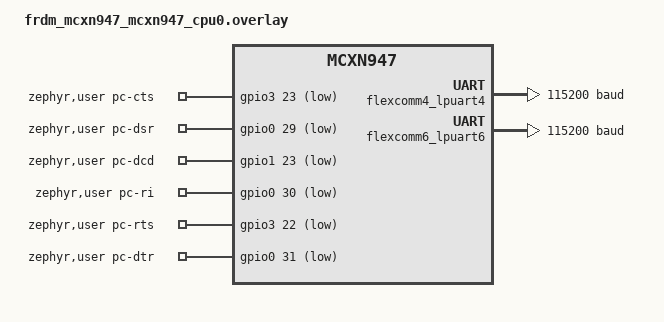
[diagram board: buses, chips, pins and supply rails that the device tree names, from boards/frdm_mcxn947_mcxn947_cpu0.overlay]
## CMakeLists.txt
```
# SPDX-License-Identifier: MIT
cmake_minimum_required(VERSION 3.20.0)
find_package(Zephyr REQUIRED HINTS $ENV{ZEPHYR_BASE})
project(astrial_rs232_fixture)
target_sources(app PRIVATE src/main.c src/fixture.c)
target_compile_options(app PRIVATE -Wall -Wextra -Werror)
```

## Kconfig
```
# SPDX-License-Identifier: MIT
source "Kconfig.zephyr"
```

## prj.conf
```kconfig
# SPDX-License-Identifier: MIT
CONFIG_SERIAL=y
CONFIG_UART_INTERRUPT_DRIVEN=y
CONFIG_UART_USE_RUNTIME_CONFIGURE=y
CONFIG_GPIO=y
CONFIG_CONSOLE=n
CONFIG_UART_CONSOLE=n
CONFIG_PRINTK=n
CONFIG_BOOT_BANNER=n
CONFIG_LOG=n
CONFIG_MAIN_STACK_SIZE=4096
```

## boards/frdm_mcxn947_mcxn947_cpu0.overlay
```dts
/* SPDX-License-Identifier: MIT */
/ {
    zephyr,user {
        /* PC/DTE signal names; MAX3237 inverts each modem signal. */
        pc-cts-gpios = <&gpio3 23 GPIO_ACTIVE_LOW>;
        pc-dsr-gpios = <&gpio0 29 GPIO_ACTIVE_LOW>;
        pc-dcd-gpios = <&gpio1 23 GPIO_ACTIVE_LOW>;
        pc-ri-gpios = <&gpio0 30 GPIO_ACTIVE_LOW>;
        pc-rts-gpios = <&gpio3 22 (GPIO_ACTIVE_LOW | GPIO_PULL_UP)>;
        pc-dtr-gpios = <&gpio0 31 (GPIO_ACTIVE_LOW | GPIO_PULL_UP)>;
    };
};
&pinctrl {
    rs232_uart6_default: rs232_uart6_default {
        group0 {
            pinmux = <FC6_P0_PIO3_20>, <FC6_P1_PIO3_21>;
            input-enable;
            drive-strength = "low";
            slew-rate = "fast";
        };
    };
};
&flexcomm4_lpuart4 { current-speed = <115200>; };
&flexcomm6_lpspi6 { status = "disabled"; };
&flexcomm6_lpi2c6 { status = "disabled"; };
&flexcomm6_lpuart6 {
    status = "okay";
    current-speed = <115200>;
    pinctrl-0 = <&rs232_uart6_default>;
    pinctrl-names = "default";
};
&sai1 { status = "disabled"; };
```

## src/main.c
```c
/* SPDX-License-Identifier: MIT */
#include "fixture.h"
#include <zephyr/kernel.h>
#include <zephyr/drivers/gpio.h>
#include <zephyr/drivers/uart.h>
#include <zephyr/sys/ring_buffer.h>
#include <fsl_lpuart.h>
#include <errno.h>

#define TARGET DT_NODELABEL(flexcomm6_lpuart6)
static const struct device *const control = DEVICE_DT_GET(DT_NODELABEL(flexcomm4_lpuart4));
static const struct device *const target = DEVICE_DT_GET(TARGET);
static const struct gpio_dt_spec outputs[] = {
    GPIO_DT_SPEC_GET(DT_PATH(zephyr_user), pc_cts_gpios),
    GPIO_DT_SPEC_GET(DT_PATH(zephyr_user), pc_dsr_gpios),
    GPIO_DT_SPEC_GET(DT_PATH(zephyr_user), pc_dcd_gpios),
    GPIO_DT_SPEC_GET(DT_PATH(zephyr_user), pc_ri_gpios),
};
static const struct gpio_dt_spec inputs[] = {
    GPIO_DT_SPEC_GET(DT_PATH(zephyr_user), pc_rts_gpios),
    GPIO_DT_SPEC_GET(DT_PATH(zephyr_user), pc_dtr_gpios),
};
RING_BUF_DECLARE(control_rx, 1024);
RING_BUF_DECLARE(control_tx, 4096);
RING_BUF_DECLARE(target_rx, 8192);
RING_BUF_DECLARE(target_tx, 8192);
static struct fixture fixture;
/* Protected by irq_lock on this single-core image; never accessed unlocked by main. */
static bool target_paused;
static uint32_t control_lost, target_dropped, target_errors;

static void uart_isr(const struct device *dev, void *unused)
{
    (void)unused;
    bool is_target = dev == target;
    struct ring_buf *rx = is_target ? &target_rx : &control_rx;
    struct ring_buf *tx = is_target ? &target_tx : &control_tx;
    (void)uart_irq_update(dev);
    int error = uart_err_check(dev);
    if (error > 0) {
        if (is_target) ++target_errors; /* Flag observations, not corrupt-byte count. */
        else ++control_lost;
    }
    while (uart_irq_rx_ready(dev)) {
        uint8_t data[32];
        int n = uart_fifo_read(dev, data, sizeof(data));
        if (n <= 0) break;
        uint32_t accepted = ring_buf_put(rx, data, (uint32_t)n);
        if (is_target) target_dropped += (uint32_t)n - accepted;
        else control_lost += (uint32_t)n - accepted;
    }
    error = uart_err_check(dev);
    if (error > 0) {
        if (is_target) ++target_errors;
        else ++control_lost;
    }
    if (uart_irq_tx_ready(dev)) {
        if (is_target && target_paused) { uart_irq_tx_disable(dev); return; }
        uint8_t data[32];
        uint32_t n = ring_buf_peek(tx, data, sizeof(data));
        int sent = n ? uart_fifo_fill(dev, data, (int)n) : 0;
        if (sent > 0) (void)ring_buf_get(tx, data, (uint32_t)sent);
        if (ring_buf_is_empty(tx)) uart_irq_tx_disable(dev);
    }
}
static size_t write_target(void *ctx, const uint8_t *data, size_t len)
{
    (void)ctx;
    unsigned int key = irq_lock();
    uint32_t n = ring_buf_put(&target_tx, data, (uint32_t)len);
    if (n && !target_paused) uart_irq_tx_enable(target);
    irq_unlock(key);
    return n;
}
static bool emit_control(void *ctx, const char *data, size_t len)
{
    (void)ctx;
    unsigned int key = irq_lock();
    bool fits = ring_buf_space_get(&control_tx) >= len;
    if (fits) {
        (void)ring_buf_put(&control_tx, (const uint8_t *)data, (uint32_t)len);
        uart_irq_tx_enable(control);
    }
    irq_unlock(key);
    return fits;
}
static void pause_target(void *ctx, bool paused)
{
    (void)ctx;
    unsigned int key = irq_lock();
    target_paused = paused;
    if (paused) uart_irq_tx_disable(target);
    else if (!ring_buf_is_empty(&target_tx)) uart_irq_tx_enable(target);
    irq_unlock(key);
}
static bool target_idle(void *ctx)
{
    (void)ctx;
    unsigned int key = irq_lock();
    /* uart_irq_tx_complete is ISR-only in the generic API; read the MCX flag here. */
    bool idle = ring_buf_is_empty(&target_tx) &&
        (LPUART_GetStatusFlags((LPUART_Type *)DT_REG_ADDR(TARGET)) & kLPUART_TransmissionCompleteFlag);
    irq_unlock(key);
    return idle;
}
static void reset_target(void *ctx)
{
    (void)ctx;
    unsigned int key = irq_lock();
    uart_irq_tx_disable(target);
    uart_irq_rx_disable(target);
    uart_irq_err_disable(target);
    LPUART_Type *base = (LPUART_Type *)DT_REG_ADDR(TARGET);
    uint32_t ctrl = base->CTRL;
    /* Only this board backend touches registers. No clock gating / driver Deinit. */
    base->CTRL = ctrl & ~(LPUART_CTRL_TE_MASK | LPUART_CTRL_RE_MASK);
    base->FIFO |= LPUART_FIFO_TXFLUSH_MASK | LPUART_FIFO_RXFLUSH_MASK;
    (void)uart_err_check(target);
    ring_buf_reset(&target_tx);
    ring_buf_reset(&target_rx);
    base->CTRL = ctrl;
    uart_irq_rx_enable(target);
    uart_irq_err_enable(target);
    irq_unlock(key);
}
static int configure_target(void *ctx, const struct fixture_config *c)
{
    (void)ctx;
    struct uart_config config = {
        .baudrate = c->baud,
        .parity = c->parity == 'E' ? UART_CFG_PARITY_EVEN :
                  c->parity == 'O' ? UART_CFG_PARITY_ODD : UART_CFG_PARITY_NONE,
        .stop_bits = c->stops == 2 ? UART_CFG_STOP_BITS_2 : UART_CFG_STOP_BITS_1,
        .data_bits = c->bits == 7 ? UART_CFG_DATA_BITS_7 : UART_CFG_DATA_BITS_8,
        .flow_ctrl = UART_CFG_FLOW_CTRL_NONE,
    };
    uart_irq_rx_disable(target);
    uart_irq_err_disable(target);
    int ret = uart_configure(target, &config);
    /* Host must quiesce the data path before CONFIG. Old queued RX is discarded. */
    unsigned int key = irq_lock();
    ring_buf_reset(&target_rx);
    irq_unlock(key);
    uart_irq_rx_enable(target);
    uart_irq_err_enable(target);
    return ret;
}
static int set_lines(void *ctx, uint8_t mask)
{
    (void)ctx;
    int error = 0;
    for (size_t i = 0; i < ARRAY_SIZE(outputs); ++i) {
        int e = gpio_pin_set_dt(&outputs[i], !!(mask & (1U << i)));
        if (e) error = e;
    }
    return error;
}
static uint8_t get_inputs(void *ctx)
{
    (void)ctx;
    uint8_t mask = 0;
    if (gpio_pin_get_dt(&inputs[0]) > 0) mask |= F_RTS;
    if (gpio_pin_get_dt(&inputs[1]) > 0) mask |= F_DTR;
    return mask;
}
static uint32_t take_rx(struct ring_buf *ring, uint8_t *data, uint32_t size)
{
    unsigned int key = irq_lock();
    uint32_t n = ring_buf_get(ring, data, size);
    irq_unlock(key);
    return n;
}
int main(void)
{
    if (!device_is_ready(control) || !device_is_ready(target)) return -ENODEV;
    for (size_t i = 0; i < ARRAY_SIZE(outputs); ++i)
        if (!gpio_is_ready_dt(&outputs[i]) || gpio_pin_configure_dt(&outputs[i], GPIO_OUTPUT_INACTIVE))
            return -ENODEV;
    for (size_t i = 0; i < ARRAY_SIZE(inputs); ++i)
        if (!gpio_is_ready_dt(&inputs[i]) || gpio_pin_configure_dt(&inputs[i], GPIO_INPUT))
            return -ENODEV;
    if (uart_irq_callback_user_data_set(control, uart_isr, NULL) ||
        uart_irq_callback_user_data_set(target, uart_isr, NULL)) return -ENOTSUP;
    uart_irq_rx_enable(control);
    uart_irq_err_enable(control);
    struct fixture_io io = {
        .configure = configure_target, .set_lines = set_lines, .inputs = get_inputs,
        .write = write_target, .tx_idle = target_idle, .pause = pause_target,
        .reset = reset_target, .emit = emit_control,
    };
    if (!fixture_init(&fixture, &io))
        (void)emit_control(NULL, "V1 0 ERR INIT\n", sizeof("V1 0 ERR INIT\n") - 1);
    for (;;) {
        unsigned int key = irq_lock();
        uint32_t lost = control_lost;
        control_lost = 0;
        /* Discard the whole damaged control buffer, not a possibly executable suffix. */
        if (lost) ring_buf_reset(&control_rx);
        irq_unlock(key);
        if (lost) fixture_control_overflow(&fixture, lost);
        uint64_t now = (uint64_t)k_uptime_get();
        /* Bound control work so a command flood cannot starve data RX / deadlines. */
        for (unsigned int i = 0; i < 256 && fixture_ready(&fixture); ++i) {
            uint8_t b;
            if (!take_rx(&control_rx, &b, 1)) break;
            fixture_control(&fixture, b, now);
        }
        /* Keep the control parser responsive even if the peer floods the target UART. */
        for (unsigned int i = 0; i < 64; ++i) {
            uint8_t data[128];
            key = irq_lock();
            uint32_t n = ring_buf_get(&target_rx, data, sizeof(data));
            uint32_t errors = target_errors, dropped = target_dropped;
            target_errors = target_dropped = 0;
            irq_unlock(key);
            if (errors) fixture_uart_error(&fixture, errors);
            if (dropped) fixture_rx_overflow(&fixture, dropped);
            if (!errors && !dropped && n) fixture_receive(&fixture, data, n);
            if (!n || errors || dropped) break;
        }
        fixture_tick(&fixture, now);
        k_sleep(K_MSEC(1));
    }
}
```

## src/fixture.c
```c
/* SPDX-License-Identifier: MIT */
#include "fixture.h"
#include <inttypes.h>
#include <stdarg.h>
#include <stdio.h>
#include <string.h>

static const char *kind(enum fixture_job j)
{
    return j == F_TX ? "TX" : j == F_RX ? "RX" : j == F_ECHO ? "ECHO" : "IDLE";
}
static const char *flow_name(enum fixture_flow flow)
{
    return flow == F_XONXOFF ? "XONXOFF" : flow == F_RTS_GATE ? "RTS_GATE" : "NONE";
}
static void reply(struct fixture *f, const char *fmt, ...)
{
    va_list ap;
    va_start(ap, fmt);
    int n = vsnprintf(f->pending, sizeof(f->pending) - 1, fmt, ap);
    va_end(ap);
    /* All reply formats are statically bounded below FIXTURE_LINE_SIZE. */
    if (n < 0 || (size_t)n >= sizeof(f->pending) - 1) {
        strcpy(f->pending, "V1 0 ERR INTERNAL");
        n = (int)strlen(f->pending);
        f->fault = true;
    }
    f->pending[n++] = '\n';
    f->pending_len = (size_t)n;
    (void)fixture_ready(f);
}
bool fixture_ready(struct fixture *f)
{
    if (f->pending_len && f->io.emit(f->io.ctx, f->pending, f->pending_len))
        f->pending_len = 0;
    if (!f->pending_len && f->completion_pending) {
        int n = snprintf(f->pending, sizeof(f->pending), "V1 0 DONE %s\n", f->last);
        f->pending_len = (size_t)n;
        f->completion_pending = false;
        if (f->io.emit(f->io.ctx, f->pending, f->pending_len)) f->pending_len = 0;
    }
    return f->pending_len == 0;
}
static void gate(struct fixture *f)
{
    bool paused = (f->config.flow == F_XONXOFF && f->xoff) ||
        (f->config.flow == F_RTS_GATE && !(f->io.inputs(f->io.ctx) & F_RTS));
    f->io.pause(f->io.ctx, paused);
}
uint8_t fixture_pattern(const struct fixture_config *c, uint32_t seed, uint32_t offset)
{
    uint32_t alphabet = c->bits == 7 ? 128 : 256;
    if (c->flow == F_XONXOFF) {
        uint32_t v = (seed + offset) % (alphabet - 2);
        if (v >= 0x11) ++v;
        if (v >= 0x13) ++v;
        return (uint8_t)v;
    }
    return (uint8_t)((seed + offset) % alphabet);
}
bool fixture_init(struct fixture *f, const struct fixture_io *io)
{
    memset(f, 0, sizeof(*f));
    f->io = *io;
    f->config = (struct fixture_config){115200, 8, 1, 'N', F_NONE};
    strcpy(f->last, "NONE");
    f->fault = io->configure(io->ctx, &f->config) != 0;
    if (io->set_lines(io->ctx, 0) != 0) f->fault = true;
    io->pause(io->ctx, false);
    return !f->fault;
}
static void finish(struct fixture *f, const char *result, bool abort)
{
    if (abort) f->io.reset(f->io.ctx);
    snprintf(f->last, sizeof(f->last),
        "job=%" PRIu32 " kind=%s result=%s count=%" PRIu32
        " mismatches=%" PRIu32 " first_bad=%" PRIu32,
        f->job_seq, kind(f->job), result, f->progress, f->mismatches, f->first_bad);
    f->job = F_IDLE;
    f->completion_pending = true;
    /* Defer completion notification until the command reply is transmitted. */
}
static bool number(const char *s, uint32_t *out)
{
    if (!s || !*s) return false;
    uint32_t v = 0;
    for (; *s; ++s) {
        if (*s < '0' || *s > '9' || v > (UINT32_MAX - (uint32_t)(*s - '0')) / 10)
            return false;
        v = v * 10 + (uint32_t)(*s - '0');
    }
    *out = v;
    return true;
}
static bool baud_valid(uint32_t b)
{
    static const uint32_t rates[] = {1200,2400,4800,9600,19200,38400,57600,115200,230400};
    for (size_t i = 0; i < sizeof(rates)/sizeof(rates[0]); ++i)
        if (rates[i] == b) return true;
    return false;
}
static void command(struct fixture *f, uint64_t now)
{
    char *a[10];
    size_t n = 0;
    char *s = f->line;
    while (*s) {
        while (*s == ' ') ++s;
        if (!*s) break;
        if (n == sizeof(a)/sizeof(a[0])) { n = 0; break; }
        a[n++] = s;
        while (*s && *s != ' ') ++s;
        if (*s) *s++ = 0;
    }
    uint32_t seq = 0, v[5] = {0};
    if (n < 3 || strcmp(a[0], "V1") || !number(a[1], &seq) || !seq) {
        reply(f, "V1 0 ERR SYNTAX"); return;
    }
#define IS(c) (!strcmp(a[2], (c)))
#define ERR(e) do { reply(f, "V1 %" PRIu32 " ERR " e, seq); return; } while (0)
    if (IS("CAPS") && n == 3) {
        reply(f, "V1 %" PRIu32 " OK version=1 board=frdm_mcxn947 uart=LPUART6 "
            "baud=1200,2400,4800,9600,19200,38400,57600,115200,230400 "
            "bits=7,8 parity=N,O,E stops=1,2 flow=NONE,XONXOFF,RTS_GATE "
            "break=0 mark_space=0 native_rtscts=0 max_count=%u", seq, FIXTURE_MAX_COUNT);
    } else if (IS("GET_LINES") && n == 3) {
        if (f->fault) ERR("FAULT");
        uint8_t m = f->io.inputs(f->io.ctx) | f->outputs;
        reply(f, "V1 %" PRIu32 " OK cts=%u dsr=%u dcd=%u ri=%u rts=%u dtr=%u",
            seq, !!(m & F_CTS), !!(m & F_DSR), !!(m & F_DCD), !!(m & F_RI),
            !!(m & F_RTS), !!(m & F_DTR));
    } else if (IS("STATUS") && n == 3) {
        reply(f, "V1 %" PRIu32 " OK state=%s fault=%u progress=%" PRIu32
            " baud=%" PRIu32 " bits=%u parity=%c stops=%u flow=%s"
            " rx=%" PRIu64 " tx_queued=%" PRIu64 " unexpected=%" PRIu64
            " uart_errors=%" PRIu64 " rx_dropped=%" PRIu64 " control_lost=%" PRIu64 " last:%s",
            seq, kind(f->job), f->fault, f->progress, f->config.baud, f->config.bits,
            f->config.parity, f->config.stops, flow_name(f->config.flow), f->rx_bytes, f->tx_queued,
            f->unexpected, f->errors, f->rx_dropped, f->control_lost, f->last);
    } else if (IS("STOP") && n == 3) {
        if (f->job != F_IDLE) finish(f, "CANCELLED", true);
        else f->io.reset(f->io.ctx);
        f->xoff = false;
        int e = f->io.configure(f->io.ctx, &f->config);
        if (f->io.set_lines(f->io.ctx, 0) != 0) e = -1;
        f->outputs = 0;
        f->fault = e != 0;
        gate(f);
        if (f->fault) ERR("IO");
        reply(f, "V1 %" PRIu32 " OK stopped=1", seq);
    } else if (IS("SET_LINES")) {
        if (n != 7) ERR("ARGS");
        for (size_t i = 0; i < 4; ++i)
            if (!number(a[i+3], &v[i]) || v[i] > 1) ERR("ARGS");
        uint8_t m = (uint8_t)(v[0] | v[1]<<1 | v[2]<<2 | v[3]<<3);
        if (f->io.set_lines(f->io.ctx, m)) {
            f->fault = true;
            if (f->job != F_IDLE) finish(f, "IO_ERROR", true);
            ERR("IO");
        }
        f->outputs = m;
        reply(f, "V1 %" PRIu32 " OK", seq);
    } else if (IS("CONFIG")) {
        if (n != 8 || !number(a[3], &v[0]) || !number(a[4], &v[1]) ||
            !number(a[6], &v[2])) ERR("ARGS");
        struct fixture_config c = f->config;
        if (!baud_valid(v[0]) || (v[1] != 7 && v[1] != 8) ||
            (v[2] != 1 && v[2] != 2) || strlen(a[5]) != 1 ||
            !strchr("NOE", a[5][0])) ERR("UNSUPPORTED");
        if (!strcmp(a[7], "NONE")) c.flow = F_NONE;
        else if (!strcmp(a[7], "XONXOFF")) c.flow = F_XONXOFF;
        else if (!strcmp(a[7], "RTS_GATE")) c.flow = F_RTS_GATE;
        else ERR("UNSUPPORTED");
        if (f->job != F_IDLE || !f->io.tx_idle(f->io.ctx)) ERR("BUSY");
        if (f->fault) ERR("FAULT");
        c.baud = v[0]; c.bits = (uint8_t)v[1]; c.parity = a[5][0]; c.stops = (uint8_t)v[2];
        if (f->io.configure(f->io.ctx, &c)) {
            /* Some drivers partially disable the UART on failed configure. */
            if (f->io.configure(f->io.ctx, &f->config)) f->fault = true;
            ERR("IO");
        }
        f->config = c; f->xoff = false; gate(f);
        reply(f, "V1 %" PRIu32 " OK", seq);
    } else if (IS("TX_PATTERN") || IS("RX_VERIFY") || IS("ECHO")) {
        bool echo = IS("ECHO");
        size_t args = echo ? 5 : 6;
        if (n != args || !number(a[3], &v[0]) || !v[0] || v[0] > FIXTURE_MAX_COUNT ||
            (!echo && (!number(a[4], &v[1]) || v[1] > 255)) ||
            !number(a[args-1], &v[2]) || !v[2] || v[2] > 3600000) ERR("ARGS");
        if (f->fault) ERR("FAULT");
        if (f->job != F_IDLE || !f->io.tx_idle(f->io.ctx)) ERR("BUSY");
        f->io.reset(f->io.ctx);
        f->job = echo ? F_ECHO : IS("TX_PATTERN") ? F_TX : F_RX;
        f->job_seq = seq; f->goal = v[0]; f->seed = v[1]; f->progress = 0;
        f->mismatches = 0; f->first_bad = UINT32_MAX; f->deadline = now + v[2];
        reply(f, "V1 %" PRIu32 " OK started=%s count=%" PRIu32, seq, kind(f->job), f->goal);
    } else ERR("COMMAND");
#undef ERR
#undef IS
}
void fixture_control(struct fixture *f, uint8_t b, uint64_t now)
{
    /* Caller applies output backpressure; no partial response may be replaced. */
    if (!fixture_ready(f)) return;
    if (b == '\n') {
        if (f->discarding) {
            f->discarding = false; f->line_len = 0;
            reply(f, "V1 0 ERR CONTROL_LINE"); return;
        }
        if (f->line_len && f->line[f->line_len-1] == '\r') --f->line_len;
        f->line[f->line_len] = 0;
        command(f, now); f->line_len = 0;
    } else if (!f->discarding) {
        if (b < 32 && b != '\r') f->discarding = true;
        else if (b > 126 || f->line_len == sizeof(f->line)-1) f->discarding = true;
        else f->line[f->line_len++] = (char)b;
    }
}
void fixture_control_overflow(struct fixture *f, uint32_t dropped)
{
    f->control_lost += dropped;
    f->line_len = 0; f->discarding = true;
}
void fixture_receive(struct fixture *f, const uint8_t *data, size_t len)
{
    f->rx_bytes += len;
    for (size_t i = 0; i < len; ++i) {
        uint8_t b = data[i];
        if (f->config.flow == F_XONXOFF && (b == 0x11 || b == 0x13)) {
            f->xoff = b == 0x13; gate(f); continue;
        }
        if (f->job == F_RX && f->progress < f->goal) {
            if (b != fixture_pattern(&f->config, f->seed, f->progress)) {
                if (!f->mismatches) f->first_bad = f->progress;
                ++f->mismatches;
            }
            ++f->progress;
        } else if (f->job == F_ECHO && f->progress < f->goal) {
            if (f->io.write(f->io.ctx, &b, 1) != 1) {
                finish(f, "ECHO_OVERFLOW", true); continue;
            }
            ++f->progress; ++f->tx_queued;
        } else ++f->unexpected;
    }
}
void fixture_rx_overflow(struct fixture *f, uint32_t dropped)
{
    f->rx_dropped += dropped;
    if (dropped && f->job != F_IDLE) finish(f, "RX_OVERFLOW", true);
}
void fixture_uart_error(struct fixture *f, uint32_t observations)
{
    f->errors += observations;
    if (observations && f->job != F_IDLE) finish(f, "UART_ERROR", true);
}
void fixture_tick(struct fixture *f, uint64_t now)
{
    gate(f);
    /* A blocked control reader must not suppress the data-path watchdog. */
    if (f->job != F_IDLE && now >= f->deadline) finish(f, "TIMEOUT", true);
    if (!fixture_ready(f) || f->job == F_IDLE) return;
    if (f->job == F_RX && f->progress == f->goal) {
        finish(f, f->mismatches ? "MISMATCH" : "OK", false);
        return;
    }
    if (f->job == F_TX && f->progress < f->goal) {
        uint8_t b[128];
        size_t n = f->goal - f->progress;
        if (n > sizeof(b)) n = sizeof(b);
        for (size_t i = 0; i < n; ++i) b[i] = fixture_pattern(&f->config, f->seed, f->progress + (uint32_t)i);
        size_t sent = f->io.write(f->io.ctx, b, n);
        f->progress += (uint32_t)sent; f->tx_queued += sent;
    }
    if ((f->job == F_TX || f->job == F_ECHO) && f->progress == f->goal && f->io.tx_idle(f->io.ctx))
        finish(f, "OK", false);
}
```

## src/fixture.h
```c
/* SPDX-License-Identifier: MIT */
#ifndef ASTRIAL_RS232_FIXTURE_H
#define ASTRIAL_RS232_FIXTURE_H
#include <stdbool.h>
#include <stddef.h>
#include <stdint.h>

#define FIXTURE_LINE_SIZE 512
#define FIXTURE_MAX_COUNT (16U * 1024U * 1024U)
/* All masks use the PC/DTE perspective. Logical 1 means asserted. */
enum { F_CTS = 1, F_DSR = 2, F_DCD = 4, F_RI = 8, F_RTS = 16, F_DTR = 32 };
enum fixture_flow { F_NONE, F_XONXOFF, F_RTS_GATE };
enum fixture_job { F_IDLE, F_TX, F_RX, F_ECHO };
struct fixture_config {
    uint32_t baud;
    uint8_t bits, stops;
    char parity;
    enum fixture_flow flow;
};
struct fixture_io {
    void *ctx;
    int (*configure)(void *, const struct fixture_config *);
    int (*set_lines)(void *, uint8_t);
    uint8_t (*inputs)(void *);
    size_t (*write)(void *, const uint8_t *, size_t);
    bool (*tx_idle)(void *); /* Includes hardware shift-register completion. */
    void (*pause)(void *, bool);
    void (*reset)(void *); /* Abort TX, discard RX, leave UART enabled. */
    bool (*emit)(void *, const char *, size_t); /* Entire line, or no bytes. */
};
struct fixture {
    struct fixture_io io;
    struct fixture_config config;
    enum fixture_job job;
    uint32_t job_seq, goal, progress, seed, mismatches, first_bad;
    uint64_t deadline, rx_bytes, tx_queued, unexpected, errors, control_lost, rx_dropped;
    uint8_t outputs;
    bool xoff, fault, discarding, completion_pending;
    size_t line_len, pending_len;
    char line[FIXTURE_LINE_SIZE], pending[FIXTURE_LINE_SIZE];
    char last[FIXTURE_LINE_SIZE];
};
/* A failed init must not be advertised as ready. No dynamic allocation. */
bool fixture_init(struct fixture *, const struct fixture_io *);
bool fixture_ready(struct fixture *); /* Retries one backpressured output line. */
void fixture_control(struct fixture *, uint8_t byte, uint64_t now_ms);
void fixture_control_overflow(struct fixture *, uint32_t dropped);
void fixture_receive(struct fixture *, const uint8_t *, size_t);
void fixture_rx_overflow(struct fixture *, uint32_t dropped);
void fixture_uart_error(struct fixture *, uint32_t observations);
void fixture_tick(struct fixture *, uint64_t now_ms);
uint8_t fixture_pattern(const struct fixture_config *, uint32_t seed, uint32_t offset);
#endif
```
